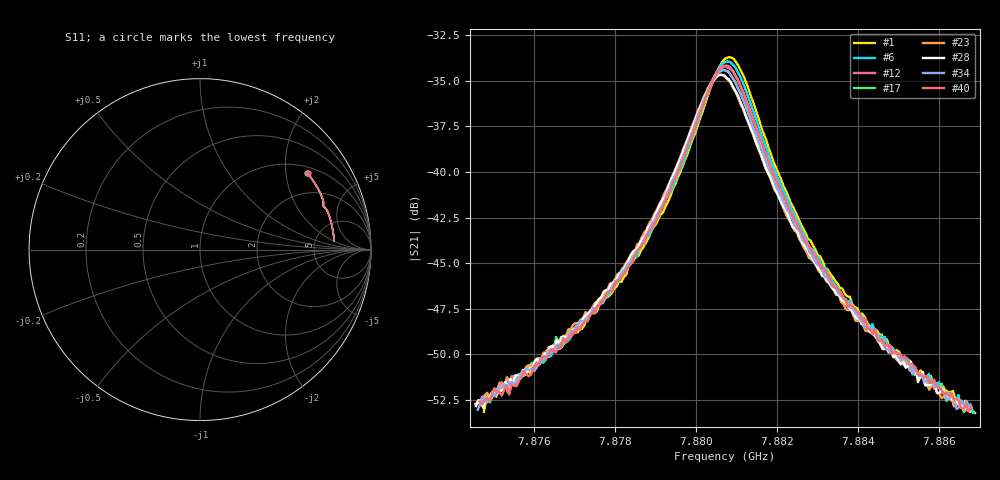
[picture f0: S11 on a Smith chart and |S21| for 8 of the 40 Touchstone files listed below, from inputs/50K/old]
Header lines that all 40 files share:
#  HZ  S  DB  R  50.00
! Rohde & Schwarz Vector Network Analyzer
! Rohde-Schwarz,ZNB20-2Port,1311601062101988,3.16
! freq[Hz]  db:S11  ang:S11  db:S21  ang:S21  db:S12  ang:S12  db:S22  ang:S22
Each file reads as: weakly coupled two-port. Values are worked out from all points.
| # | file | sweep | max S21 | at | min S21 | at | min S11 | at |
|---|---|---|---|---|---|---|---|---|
| 1 | 81_ST42.998_UT51.826_H53480.28.s2p | 7.87476 GHz to 7.88689 GHz | -33.70 dB | 7.88082 GHz | -53.2 dB | 7.88689 GHz | -2.3 dB | 7.88082 GHz |
| 2 | 83_ST42.998_UT51.818_H55100.43.s2p | 7.87475 GHz to 7.88688 GHz | -33.74 dB | 7.88081 GHz | -53.1 dB | 7.88682 GHz | -2.4 dB | 7.88075 GHz |
| 3 | 85_ST43.002_UT51.812_H56774.94.s2p | 7.87473 GHz to 7.88686 GHz | -33.76 dB | 7.8808 GHz | -53.2 dB | 7.88674 GHz | -2.3 dB | 7.8808 GHz |
| 4 | 86_ST43.0_UT51.81_H57584.77.s2p | 7.87473 GHz to 7.88686 GHz | -33.81 dB | 7.88073 GHz | -53.2 dB | 7.88686 GHz | -2.3 dB | 7.88079 GHz |
| 5 | 88_ST43.0_UT51.804_H59276.72.s2p | 7.87472 GHz to 7.88685 GHz | -33.88 dB | 7.88079 GHz | -53.0 dB | 7.88685 GHz | -2.3 dB | 7.88085 GHz |
| 6 | 90_ST43.001_UT51.797_H60897.75.s2p | 7.87471 GHz to 7.88684 GHz | -33.93 dB | 7.88078 GHz | -53.2 dB | 7.88684 GHz | -2.3 dB | 7.88078 GHz |
| 7 | 91_ST42.996_UT51.793_H61690.08.s2p | 7.8747 GHz to 7.88683 GHz | -33.93 dB | 7.88077 GHz | -53.4 dB | 7.88677 GHz | -2.3 dB | 7.88071 GHz |
| 8 | 93_ST42.998_UT51.787_H63309.93.s2p | 7.87469 GHz to 7.88683 GHz | -34.00 dB | 7.88076 GHz | -53.1 dB | 7.88683 GHz | -2.3 dB | 7.88076 GHz |
| 9 | 95_ST43.002_UT51.782_H65004.75.s2p | 7.87468 GHz to 7.88681 GHz | -34.02 dB | 7.88075 GHz | -53.3 dB | 7.88675 GHz | -2.3 dB | 7.88075 GHz |
| 10 | 96_ST42.999_UT51.779_H65834.95.s2p | 7.87468 GHz to 7.88681 GHz | -34.05 dB | 7.88075 GHz | -53.0 dB | 7.88681 GHz | -2.3 dB | 7.88081 GHz |
| 11 | 97_ST43.001_UT51.775_H66682.89.s2p | 7.87467 GHz to 7.8868 GHz | -34.08 dB | 7.88074 GHz | -53.2 dB | 7.8868 GHz | -2.3 dB | 7.88074 GHz |
| 12 | 100_ST43.002_UT51.766_H69137.99.s2p | 7.87466 GHz to 7.88679 GHz | -34.17 dB | 7.88072 GHz | -53.0 dB | 7.88679 GHz | -2.3 dB | 7.88072 GHz |
| 13 | 101_ST43.0_UT51.763_H69968.3.s2p | 7.87465 GHz to 7.88678 GHz | -34.18 dB | 7.88072 GHz | -53.2 dB | 7.8866 GHz | -2.3 dB | 7.88072 GHz |
| 14 | 103_ST43.003_UT51.757_H71610.37.s2p | 7.87464 GHz to 7.88678 GHz | -34.20 dB | 7.88071 GHz | -53.4 dB | 7.88659 GHz | -2.3 dB | 7.88071 GHz |
| 15 | 107_ST42.999_UT51.745_H74913.4.s2p | 7.87462 GHz to 7.88675 GHz | -34.33 dB | 7.88063 GHz | -53.0 dB | 7.88657 GHz | -2.3 dB | 7.88069 GHz |
| 16 | 109_ST43.002_UT51.737_H76592.2.s2p | 7.87461 GHz to 7.88674 GHz | -34.41 dB | 7.88068 GHz | -53.0 dB | 7.88668 GHz | -2.3 dB | 7.88068 GHz |
| 17 | 110_ST43.0_UT51.734_H77368.41.s2p | 7.8746 GHz to 7.88673 GHz | -34.39 dB | 7.88067 GHz | -53.2 dB | 7.88661 GHz | -2.3 dB | 7.88067 GHz |
| 18 | 111_ST43.0_UT51.731_H78216.89.s2p | 7.8746 GHz to 7.88673 GHz | -34.41 dB | 7.88067 GHz | -53.1 dB | 7.88655 GHz | -2.3 dB | 7.8806 GHz |
| 19 | 113_ST42.998_UT51.725_H79822.98.s2p | 7.87459 GHz to 7.88672 GHz | -34.47 dB | 7.88065 GHz | -53.2 dB | 7.88672 GHz | -2.3 dB | 7.88059 GHz |
| 20 | 114_ST43.0_UT51.722_H80671.25.s2p | 7.87458 GHz to 7.88672 GHz | -34.52 dB | 7.88065 GHz | -53.0 dB | 7.88665 GHz | -2.3 dB | 7.88065 GHz |
| 21 | 115_ST43.001_UT51.719_H81501.73.s2p | 7.87458 GHz to 7.88671 GHz | -34.51 dB | 7.88064 GHz | -53.0 dB | 7.88653 GHz | -2.3 dB | 7.88058 GHz |
| 22 | 120_ST43.003_UT51.703_H85598.38.s2p | 7.87456 GHz to 7.88669 GHz | -34.64 dB | 7.88068 GHz | -53.2 dB | 7.88669 GHz | -2.3 dB | 7.88056 GHz |
| 23 | 121_ST42.998_UT51.7_H86429.07.s2p | 7.87454 GHz to 7.88667 GHz | -34.66 dB | 7.88061 GHz | -53.1 dB | 7.88667 GHz | -2.3 dB | 7.88067 GHz |
| 24 | 122_ST43.0_UT51.697_H87241.06.s2p | 7.87454 GHz to 7.88667 GHz | -34.74 dB | 7.88061 GHz | -53.2 dB | 7.88667 GHz | -2.3 dB | 7.88061 GHz |
| 25 | 125_ST42.999_UT51.688_H89695.43.s2p | 7.87453 GHz to 7.88666 GHz | -34.77 dB | 7.88059 GHz | -53.1 dB | 7.88666 GHz | -2.3 dB | 7.88053 GHz |
| 26 | 129_ST43.0_UT51.688_H87961.61.s2p | 7.87455 GHz to 7.88668 GHz | -34.70 dB | 7.88062 GHz | -53.6 dB | 7.88668 GHz | -2.3 dB | 7.88062 GHz |
| 27 | 130_ST43.0_UT51.692_H87136.24.s2p | 7.87456 GHz to 7.88669 GHz | -34.71 dB | 7.88056 GHz | -52.9 dB | 7.87462 GHz | -2.3 dB | 7.88062 GHz |
| 28 | 131_ST43.0_UT51.694_H86310.48.s2p | 7.87456 GHz to 7.88669 GHz | -34.67 dB | 7.88063 GHz | -53.0 dB | 7.88663 GHz | -2.3 dB | 7.88057 GHz |
| 29 | 132_ST43.0_UT51.698_H85465.76.s2p | 7.87456 GHz to 7.88669 GHz | -34.65 dB | 7.88063 GHz | -52.9 dB | 7.88657 GHz | -2.3 dB | 7.88056 GHz |
| 30 | 134_ST43.0_UT51.704_H83849.92.s2p | 7.87457 GHz to 7.8867 GHz | -34.56 dB | 7.8807 GHz | -53.2 dB | 7.8867 GHz | -2.3 dB | 7.88058 GHz |
| 31 | 138_ST43.0_UT51.72_H80545.2.s2p | 7.87459 GHz to 7.88672 GHz | -34.52 dB | 7.88071 GHz | -52.9 dB | 7.87459 GHz | -2.3 dB | 7.88065 GHz |
| 32 | 139_ST43.0_UT51.724_H79773.48.s2p | 7.87459 GHz to 7.88672 GHz | -34.51 dB | 7.88072 GHz | -53.2 dB | 7.88666 GHz | -2.3 dB | 7.8806 GHz |
| 33 | 140_ST43.001_UT51.728_H78964.77.s2p | 7.8746 GHz to 7.88673 GHz | -34.43 dB | 7.88067 GHz | -53.2 dB | 7.88673 GHz | -2.3 dB | 7.88067 GHz |
| 34 | 142_ST42.998_UT51.736_H77313.2.s2p | 7.87461 GHz to 7.88674 GHz | -34.38 dB | 7.88067 GHz | -53.0 dB | 7.87461 GHz | -2.3 dB | 7.88061 GHz |
| 35 | 145_ST42.998_UT51.748_H74870.38.s2p | 7.87463 GHz to 7.88676 GHz | -34.34 dB | 7.88063 GHz | -53.3 dB | 7.88676 GHz | -2.3 dB | 7.88069 GHz |
| 36 | 146_ST43.002_UT51.753_H74026.41.s2p | 7.87463 GHz to 7.88676 GHz | -34.34 dB | 7.88063 GHz | -53.2 dB | 7.88664 GHz | -2.3 dB | 7.88069 GHz |
| 37 | 147_ST42.999_UT51.757_H73200.44.s2p | 7.87464 GHz to 7.88677 GHz | -34.31 dB | 7.88064 GHz | -53.2 dB | 7.88652 GHz | -2.3 dB | 7.88064 GHz |
| 38 | 148_ST43.0_UT51.761_H72427.94.s2p | 7.87464 GHz to 7.88677 GHz | -34.29 dB | 7.8807 GHz | -53.0 dB | 7.88677 GHz | -2.3 dB | 7.88064 GHz |
| 39 | 150_ST42.996_UT51.77_H70722.3.s2p | 7.87465 GHz to 7.88678 GHz | -34.20 dB | 7.88072 GHz | -53.2 dB | 7.88678 GHz | -2.4 dB | 7.88078 GHz |
| 40 | 151_ST43.0_UT51.773_H69967.92.s2p | 7.87466 GHz to 7.88679 GHz | -34.19 dB | 7.88072 GHz | -53.1 dB | 7.88673 GHz | -2.3 dB | 7.88072 GHz |
